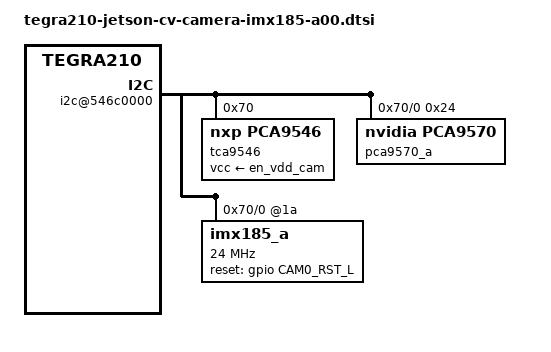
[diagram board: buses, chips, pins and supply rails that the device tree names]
/*
 * Copyright (c) 2016-2017, NVIDIA CORPORATION.  All rights reserved.
 *
 * This program is free software; you can redistribute it and/or modify
 * it under the terms of the GNU General Public License as published by
 * the Free Software Foundation; either version 2 of the License, or
 * (at your option) any later version.
 *
 * This program is distributed in the hope that it will be useful, but WITHOUT
 * ANY WARRANTY; without even the implied warranty of MERCHANTABILITY or
 * FITNESS FOR A PARTICULAR PURPOSE.  See the GNU General Public License for
 * more details.
 *
 * You should have received a copy of the GNU General Public License
 * along with this program.  If not, see <http://www.gnu.org/licenses/>.
 */
#include "tegra210-camera-imx185-a00.dtsi"

#define CAM0_RST_L	TEGRA_GPIO(S, 4)
#define CAMERA_I2C_MUX_BUS(x) (0x1E + x)

/* camera control gpio definitions */

/ {
	host1x {
		i2c@546c0000 {
			tca9546@70 {
				compatible = "nxp,pca9546";
				reg = <0x70>;
				#address-cells = <1>;
				#size-cells = <0>;
				vcc-supply = <&en_vdd_cam>;
				vcc_lp = "vcc";
				force_bus_start = <CAMERA_I2C_MUX_BUS(0)>;

				i2c@0 {
					reg = <0>;
					i2c-mux,deselect-on-exit;
					#address-cells = <1>;
					#size-cells = <0>;
					pca9570_a@24 {
						compatible = "nvidia,pca9570";
						reg = <0x24>;
						channel = "a";
						drive_ic = "DRV8838";
					};
					imx185_a@1a {
						/* Define any required hw resources needed by driver */
						/* ie. clocks, io pins, power sources */
						clocks = <&tegra_car TEGRA210_CLK_CLK_OUT_3>;
						clock-names = "clk_out_3";
						clock-frequency = <24000000>;
						mclk = "clk_out_3";
						reset-gpios = <&gpio CAM0_RST_L GPIO_ACTIVE_HIGH>;
					};
				};
			};
		};
	};
};
